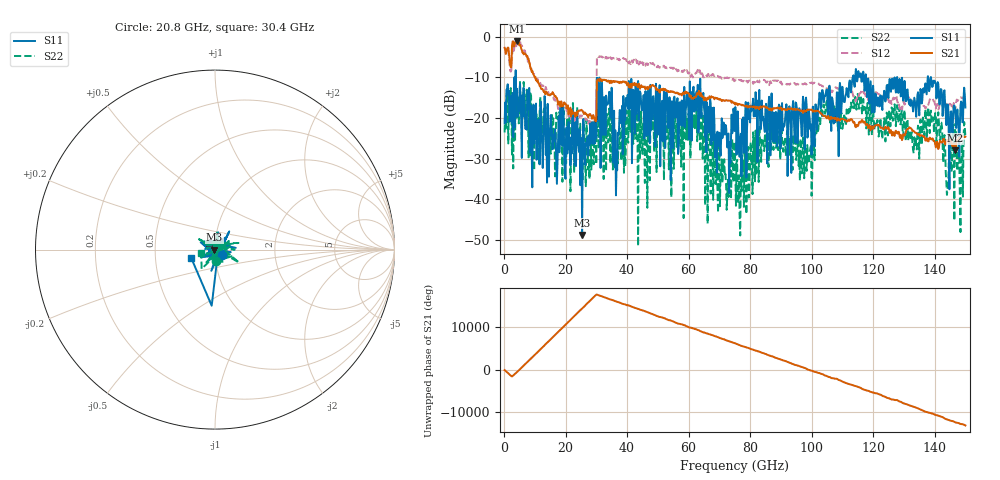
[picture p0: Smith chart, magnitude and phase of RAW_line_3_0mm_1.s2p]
!  2-Port S-parameters saved by WinCal
! VAR MeasName=S-Parameters (CALIBRATED_DATA) read from VNA (MS4647B)
! VAR MeasDate=27-Apr-22 15:10:59
! VAR NAME=RAW_line_3mm_1
! VAR FILENAME=RAW_line_3mm_1.S2P
! VAR DATE=27-Apr-22 15:10:59
! VAR PHYS_PORTS=1,2
! VAR ObjTypeName=DATASET
! VAR IndexType=Frequency
! VAR ChuckHeaterState=Unknown
! VAR ChuckTemp=NaN
! VAR ChuckTempUnits=Unknown
# Hz S RI R 50
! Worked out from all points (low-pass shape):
!   750 points, 200 MHz to 150 GHz, reference 50 ohm
!   highest |S21| = -1.03 dB at 4.2 GHz (marker M1); lowest = -27.9 dB at 146.6 GHz (marker M2)
!   |S21| within 3 dB of the highest: 655.8 MHz to 1.594 GHz (937.8 MHz wide, 83.4 % of centre); 2.536 GHz to 6.25 GHz (3.714 GHz wide, 84.5 % of centre)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
!   lowest |S11| = -48.8 dB at 25.4 GHz (marker M3), VSWR 1.01, Z = 49.6 - j0.00506 ohm
!   |S11| at or under -10 dB: 3.841 GHz to 113.4 GHz (109.5 GHz wide, 187 % of centre); 117.7 GHz to 127.8 GHz (10.09 GHz wide, 8.22 % of centre); 138.8 GHz to end of sweep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
!   |S22| runs from -51.5 to -11.1 dB; largest |S21 - S12| = 1.7
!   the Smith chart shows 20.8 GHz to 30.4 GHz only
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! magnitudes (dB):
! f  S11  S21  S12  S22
! 200 MHz  -21.3  -2.7  -2.6  -23.6
! 4.2 GHz  -12.8  -1.0  -1.6  -12.9
! 25.2 GHz  -24.9  -18.0  -19.7  -31.1
! 25.4 GHz  -48.8  -18.2  -19.4  -34.9
! 29.4 GHz  -20.9  -20.3  -21.9  -21.7
! 30.8 GHz  -17.1  -10.5  -5.0  -27.6
! 34.6 GHz  -19.6  -10.9  -5.1  -31.2
! 36.6 GHz  -31.3  -11.0  -5.3  -29.0
! 40.8 GHz  -17.7  -12.5  -6.0  -22.8
! 50.2 GHz  -15.5  -13.0  -7.4  -21.4
! 73.2 GHz  -38.4  -15.7  -10.2  -35.9
! 75.2 GHz  -17.3  -16.7  -10.7  -32.2
! 76.6 GHz  -29.5  -16.6  -10.6  -44.0
! 83.6 GHz  -20.8  -17.2  -10.6  -30.8
! 100.2 GHz  -24.8  -18.0  -11.3  -34.1
! 104.4 GHz  -14.6  -19.4  -12.1  -18.9
! 125.2 GHz  -11.8  -23.0  -16.3  -18.1
! 140.6 GHz  -15.2  -26.5  -17.0  -25.9
! 144.2 GHz  -16.7  -25.4  -16.4  -37.3
! 146.6 GHz  -17.4  -27.9  -18.1  -23.9
! 148.6 GHz  -15.9  -24.6  -14.9  -31.0
! 150 GHz  -17.4  -24.6  -15.4  -24.6
